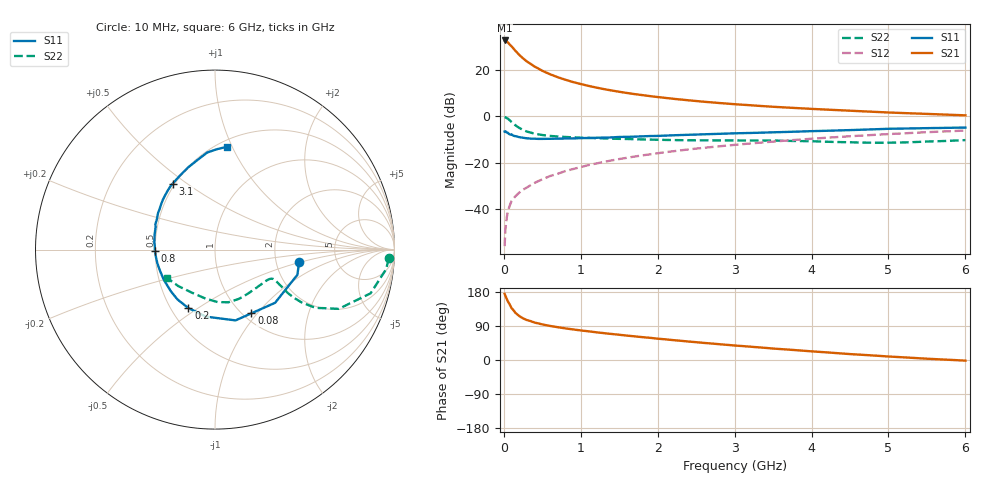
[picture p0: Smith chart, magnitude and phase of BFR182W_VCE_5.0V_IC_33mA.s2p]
! (c) 2017  Infineon Technologies AG, Munich
! Infineon Technologies  Discrete & RF Semiconductors
! BFR182W
! VCE =  5.0 V,  IC =  33 mA
! Common Emitter S-Parameters:  Jan 2017
# GHz  S  MA  R  50
!  f  S11  S21  S12  S22
! GHz  MAG  ANG  MAG  ANG  MAG  ANG  MAG  ANG
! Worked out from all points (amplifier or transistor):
!   77 points, 10 MHz to 6 GHz, reference 50 ohm
!   highest |S21| = 32.8 dB at 10 MHz (marker M1)
!   |S21| within 3 dB of that: start of sweep to 112.8 MHz
!   unconditionally stable (mu >= 1): 634.5 MHz to 2.205 GHz
!   at 130 MHz: K = 0.52, MSG = 32.1 dB, |S12| = -35.2 dB
!   at 2.2 GHz: K = 1.00, MAG = 11.2 dB, |S12| = -15.0 dB
!   at 6 GHz: K = 0.86, MSG = 3.3 dB, |S12| = -6.1 dB
!   S11 on the Smith chart (normalised r, x): 10 MHz: 2.70, -0.49; 80 MHz: 1.09, -0.93; 200 MHz: 0.61, -0.46; 800 MHz: 0.50, -0.01; 3.1 GHz: 0.49, +0.44; 6 GHz: 0.56, +0.95
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0.01  0.4738 -8.5  43.45 174.4  0.0016 82.2  0.9689 -2.9
0.02  0.48 -17.0  43.37 169.6  0.0036 88.5  0.9601 -6.5
0.05  0.4471 -41.5  39.86 155.3  0.0086 75.1  0.9005 -15.7
0.08  0.4089 -60.3  35.01 145.1  0.0124 71.0  0.8155 -21.2
0.1  0.4107 -73.8  32.54 136.8  0.015 69.4  0.7639 -25.6
0.15  0.3769 -97.6  26.06 124.5  0.019 65.3  0.6464 -30.1
0.2  0.358 -114.5  21.29 116.1  0.0228 65.6  0.5662 -31.4
0.25  0.3476 -127.0  17.88 109.8  0.0265 65.7  0.5117 -31.4
0.3  0.3382 -136.6  15.28 105.4  0.0294 66.5  0.4718 -30.8
0.4  0.3311 -149.9  11.87 98.7  0.037 68.6  0.4252 -29.1
0.5  0.3284 -159.9  9.642 93.9  0.0441 70.3  0.3978 -28.0
0.6  0.3302 -167.2  8.132 89.9  0.0519 70.6  0.3811 -27.2
0.7  0.3318 -173.3  7.019 86.6  0.0581 72.5  0.3699 -26.8
0.8  0.3348 -178.3  6.185 83.4  0.0666 73.0  0.3614 -26.8
0.9  0.3357 177.0  5.51 80.7  0.0736 73.1  0.3546 -27.2
1.1  0.3433 169.2  4.563 75.7  0.0895 73.1  0.345 -28.5
1.5  0.3614 156.8  3.404 66.6  0.1208 72.0  0.3288 -33.2
2.1  0.3864 142.1  2.511 54.5  0.1694 68.7  0.3119 -44.3
3.1  0.4366 122.7  1.791 36.8  0.2526 61.1  0.3035 -67.0
4.1  0.4867 106.6  1.43 21.5  0.3395 52.1  0.2886 -89.7
5.1  0.5454 93.5  1.2 8.1  0.4248 42.1  0.2734 -121.6
6  0.5766 83.4  1.057 -1.7  0.4966 32.5  0.3095 -149.0
